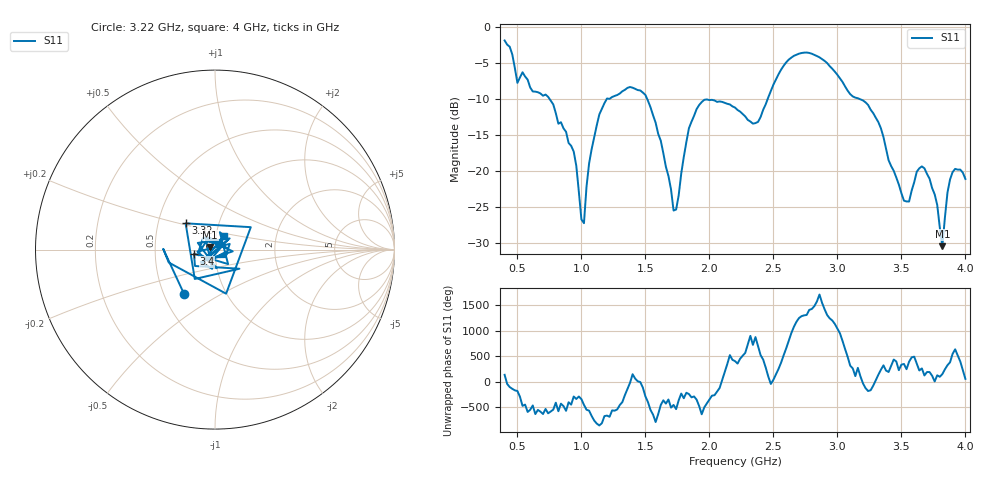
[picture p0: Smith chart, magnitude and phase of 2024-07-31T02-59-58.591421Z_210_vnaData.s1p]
!Created with skrf (http://scikit-rf.org).
# Hz S RI R 50.0
!freq ReS11 ImS11
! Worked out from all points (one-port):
!   181 points, 400 MHz to 4 GHz, reference 50 ohm
!   lowest |S11| = -30.4 dB at 3.82 GHz (marker M1), VSWR 1.06, Z = 47.4 + j1.44 ohm
!   |S11| at or under -10 dB: 753.1 MHz to 1.197 GHz (443.7 MHz wide, 45.5 % of centre); 1.515 GHz to 2.455 GHz (939.7 MHz wide, 47.3 % of centre); 3.179 GHz to end of sweep
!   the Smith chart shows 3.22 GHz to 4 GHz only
!   S11 on the Smith chart (normalised r, x): 3.22 GHz: 0.63, -0.34; 3.32 GHz: 0.69, +0.21; 3.4 GHz: 0.79, -0.04; 4 GHz: 1.09, +0.16
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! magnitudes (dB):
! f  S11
! 400 MHz  -1.8
! 500 MHz  -7.7
! 740 MHz  -9.7
! 860 MHz  -14.0
! 940 MHz  -17.3
! 1.02 GHz  -27.2
! 1.06 GHz  -18.9
! 1.14 GHz  -12.1
! 1.3 GHz  -9.2
! 1.5 GHz  -9.4
! 1.62 GHz  -15.7
! 1.72 GHz  -25.4
! 1.76 GHz  -23.3
! 1.84 GHz  -14.0
! 1.92 GHz  -10.8
! 2.2 GHz  -11.1
! 2.38 GHz  -13.1
! 2.66 GHz  -4.0
! 3.1 GHz  -9.3
! 3.22 GHz  -10.4
! 3.32 GHz  -13.2
! 3.4 GHz  -18.5
! 3.56 GHz  -24.2
! 3.68 GHz  -19.6
! 3.78 GHz  -24.7
! 3.82 GHz  -30.4
! 3.88 GHz  -21.1
! 4 GHz  -21.1
